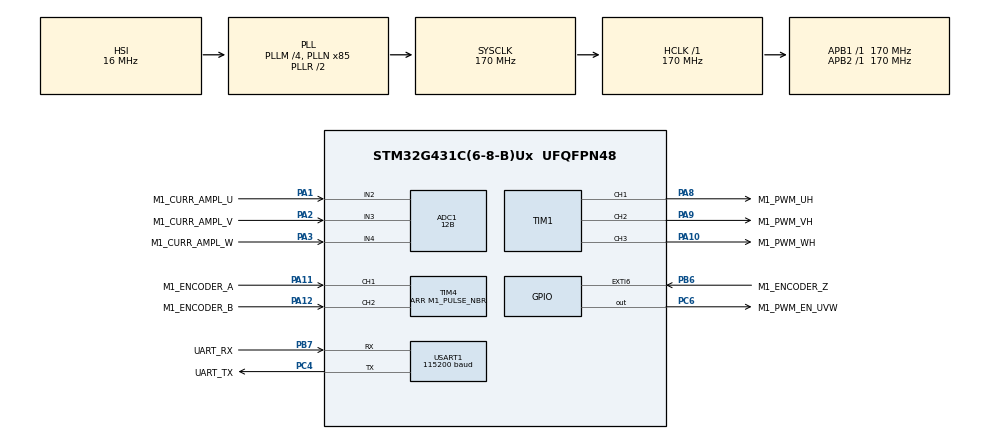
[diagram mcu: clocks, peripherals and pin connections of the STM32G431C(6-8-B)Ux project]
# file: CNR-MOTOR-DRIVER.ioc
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ADC1.ClockPrescaler=ADC_CLOCK_ASYNC_DIV1
ADC1.ContinuousConvMode=DISABLE
ADC1.DMAContinuousRequests=DISABLE
ADC1.DataAlign=ADC_DATAALIGN_LEFT
ADC1.DiscontinuousConvMode=DISABLE
ADC1.EOCSelection=ADC_EOC_SINGLE_CONV
ADC1.EnableAnalogWatchDog1=false
ADC1.EnableAnalogWatchDog2=false
ADC1.EnableAnalogWatchDog3=false
ADC1.EnableInjectedConversion=ENABLE
ADC1.EnableRegularConversion=DISABLE
ADC1.ExternalTrigInjecConv=ADC_EXTERNALTRIGINJEC_T1_TRGO
ADC1.ExternalTrigInjecConvEdge=ADC_EXTERNALTRIGINJECCONV_EDGE_RISING
ADC1.InjNumberOfConversion=3
ADC1.InjectedChannel-1\#ChannelInjectedConversion=ADC_CHANNEL_2
ADC1.InjectedChannel-2\#ChannelInjectedConversion=ADC_CHANNEL_3
ADC1.InjectedChannel-3\#ChannelInjectedConversion=ADC_CHANNEL_4
ADC1.InjectedConvMode=None
ADC1.InjectedOffset-1\#ChannelInjectedConversion=0
ADC1.InjectedOffset-2\#ChannelInjectedConversion=0
ADC1.InjectedOffset-3\#ChannelInjectedConversion=0
ADC1.InjectedOffsetNumber-1\#ChannelInjectedConversion=ADC_OFFSET_NONE
ADC1.InjectedOffsetNumber-2\#ChannelInjectedConversion=ADC_OFFSET_NONE
ADC1.InjectedOffsetNumber-3\#ChannelInjectedConversion=ADC_OFFSET_NONE
ADC1.InjectedRank-1\#ChannelInjectedConversion=1
ADC1.InjectedRank-2\#ChannelInjectedConversion=2
ADC1.InjectedRank-3\#ChannelInjectedConversion=3
ADC1.InjectedSamplingTime-1\#ChannelInjectedConversion=ADC_SAMPLETIME_6CYCLES_5
ADC1.InjectedSamplingTime-2\#ChannelInjectedConversion=ADC_SAMPLETIME_6CYCLES_5
ADC1.InjectedSamplingTime-3\#ChannelInjectedConversion=ADC_SAMPLETIME_6CYCLES_5
ADC1.LowPowerAutoWait=DISABLE
ADC1.Overrun=ADC_OVR_DATA_PRESERVED
ADC1.Resolution=ADC_RESOLUTION_12B
ADC1.ScanConvMode=ADC_SCAN_ENABLE
ADC1.master=1
Dma.Request0=USART1_RX
Dma.Request1=USART1_TX
Dma.USART1_RX.0.Direction=DMA_PERIPH_TO_MEMORY
Dma.USART1_RX.0.EventEnable=DISABLE
Dma.USART1_RX.0.Instance=DMA1_Channel1
Dma.USART1_RX.0.MemDataAlignment=DMA_MDATAALIGN_BYTE
Dma.USART1_RX.0.MemInc=DMA_MINC_ENABLE
Dma.USART1_RX.0.Mode=DMA_NORMAL
Dma.USART1_RX.0.PeriphDataAlignment=DMA_PDATAALIGN_BYTE
Dma.USART1_RX.0.PeriphInc=DMA_PINC_DISABLE
Dma.USART1_RX.0.Polarity=HAL_DMAMUX_REQ_GEN_RISING
Dma.USART1_RX.0.Priority=DMA_PRIORITY_LOW
Dma.USART1_RX.0.RequestNumber=1
Dma.USART1_RX.0.SignalID=NONE
Dma.USART1_RX.0.SyncEnable=DISABLE
Dma.USART1_RX.0.SyncPolarity=HAL_DMAMUX_SYNC_NO_EVENT
Dma.USART1_RX.0.SyncRequestNumber=1
Dma.USART1_RX.0.SyncSignalID=NONE
Dma.USART1_TX.1.Direction=DMA_MEMORY_TO_PERIPH
Dma.USART1_TX.1.EventEnable=DISABLE
Dma.USART1_TX.1.Instance=DMA1_Channel2
Dma.USART1_TX.1.MemDataAlignment=DMA_MDATAALIGN_BYTE
Dma.USART1_TX.1.MemInc=DMA_MINC_ENABLE
Dma.USART1_TX.1.Mode=DMA_NORMAL
Dma.USART1_TX.1.PeriphDataAlignment=DMA_PDATAALIGN_BYTE
Dma.USART1_TX.1.PeriphInc=DMA_PINC_DISABLE
Dma.USART1_TX.1.Polarity=HAL_DMAMUX_REQ_GEN_RISING
Dma.USART1_TX.1.Priority=DMA_PRIORITY_LOW
Dma.USART1_TX.1.RequestNumber=1
Dma.USART1_TX.1.SignalID=NONE
Dma.USART1_TX.1.SyncEnable=DISABLE
Dma.USART1_TX.1.SyncPolarity=HAL_DMAMUX_SYNC_NO_EVENT
Dma.USART1_TX.1.SyncRequestNumber=1
Dma.USART1_TX.1.SyncSignalID=NONE
ExtraMW=MotorControl
ExtraMW.MotorControl.Config=MotorControl
ExtraMW.MotorControl.Mode=MotorControl
ExtraMW.MotorControl.Root=MCSDK_v6.4.2-Full/MotorControl
ExtraMW.MotorControl.Template=templates
Mcu.Family=STM32G4
Mcu.Name=STM32G431C(6-8-B)Ux
Mcu.Package=UFQFPN48
MotorControl.ADC_AHBPERIPH=RCC_AHBPeriph_ADC1
MotorControl.ADC_CLOCK_WB_DIV=1
MotorControl.ADC_PERIPH=ADC1
MotorControl.ADC_REFERENCE_VOLTAGE=3.3
MotorControl.BOARD=~CNR-BOARD
MotorControl.BUS_VOLTAGE_READING=false
MotorControl.CCMRAM_ENABLED=false
MotorControl.CLOCK_FREQUENCY=CPU_CLK_170_MHZ
MotorControl.CLOCK_SOURCE=INTERNAL
MotorControl.CPU_CLK_170_MHZ=true
MotorControl.CTLBOARD_NAME=~CNR-BOARD
MotorControl.CUBE_MX_VER=6.17.0
MotorControl.CURRENT_READING_TOPOLOGY=THREE_SHUNT
MotorControl.CURR_SAMPLING_TIME=6
MotorControl.DBG_MCU_LOAD_MEASURE=false
MotorControl.DEBUG_DAC_FUNCTIONALITY_EN=false
MotorControl.DRIVES_NUMBER_SELECTION=SINGLEDRIVE
MotorControl.DRIVE_NUMBER=1
MotorControl.DRIVE_TYPE=FOC
MotorControl.ENCODER=true
MotorControl.ENCODER_AVAILABLE=true
MotorControl.ENCODER_PPR=256
MotorControl.ENC_A_GPIO_PIN=LL_GPIO_PIN_11
MotorControl.ENC_A_GPIO_PORT=GPIOA
MotorControl.ENC_B_GPIO_PIN=LL_GPIO_PIN_12
MotorControl.ENC_B_GPIO_PORT=GPIOA
MotorControl.ENC_ICx_FILTER=128
MotorControl.ENC_INVERT_SPEED=false
MotorControl.ENC_TIMER_SELECTION=ENC_TIM4
MotorControl.ENC_USE_CH3=true
MotorControl.ENC_Z_GPIO_PIN=LL_GPIO_PIN_6
MotorControl.ENC_Z_GPIO_PORT=GPIOB
MotorControl.EXT_CLOCK_FREQUENCY=INT_RC_OSC
MotorControl.FEEDBACK_NET_FILTERING=false
MotorControl.FLASH_SIZE=128
MotorControl.HALL_SENSORS_AVAILABLE=false
MotorControl.HIGH_SIDE_IDLE_STATE=false
MotorControl.HWV_CS=ThreeShunt_AmplifiedCurrents
MotorControl.HWV_PWM=DrivingHighSidesAndOneEnable
MotorControl.HW_COMPLEMENTED_LOW_SIDE=true
MotorControl.HW_DEAD_TIME_NS=1000
MotorControl.INT_RC_OSC=true
MotorControl.IPs=CORDIC,NVIC,RCC,SYS,MotorControl,TIM1,ADC1,TIM4,USART1,DMA
MotorControl.LOW_MEMORY_FOOTPRINT_REG=false
MotorControl.LOW_SIDE_IDLE_STATE=false
MotorControl.LOW_SIDE_SIGNALS_ENABLING=ES_GPIO
MotorControl.M1_ALIGNMENT_ANGLE_DEG=90
MotorControl.M1_ALIGNMENT_DURATION=700
MotorControl.M1_AMPLIFICATION_GAIN=6.67
MotorControl.M1_ANGC={0,0,0,0,0,0,0,0}
MotorControl.M1_AUXILIARY_SPEED_SENSOR=NONE
MotorControl.M1_BOARD_MAX_CURRENT=1.6
MotorControl.M1_BUS_VOLTAGE_READING=false
MotorControl.M1_COMMUTATION_STEP_TIME_BUF_SIZE=12
MotorControl.M1_CONSTANT1_D=7565984
MotorControl.M1_CONSTANT1_Q=7565984
MotorControl.M1_CONSTANT2_QD=921221
MotorControl.M1_CS_ADC_NUM=1
MotorControl.M1_CS_ADC_PHASE_SHARED=NONE
MotorControl.M1_CS_ADC_U=ADC1
MotorControl.M1_CS_ADC_V=ADC1
MotorControl.M1_CS_ADC_W=ADC1
MotorControl.M1_CS_CHANNEL_U=2
MotorControl.M1_CS_CHANNEL_V=3
MotorControl.M1_CS_CHANNEL_W=4
MotorControl.M1_CURRENT_AMPLIFICATION_TOPO=EXTERNAL
MotorControl.M1_CURRENT_SENSING_TOPO=THREE_SHUNT
MotorControl.M1_CURR_SAMPLING_TIME=6
MotorControl.M1_DBG_OPEN_LOOP_ENABLE=false
MotorControl.M1_DC_CURRENT_RS_MEAS=1.6
MotorControl.M1_DEFAULT_CONTROL_MODE=STC_SPEED_MODE
MotorControl.M1_DEFAULT_FLUX_COMPONENT=0
MotorControl.M1_DEFAULT_TARGET_SPEED_RPM=1440
MotorControl.M1_DEFAULT_TORQUE_COMPONENT=0
MotorControl.M1_DISCONTINUOUS_PWM=false
MotorControl.M1_DP_TOPOLOGY=NONE
MotorControl.M1_DRIVE_TYPE=FOC
MotorControl.M1_ENCODER_PPR=256
MotorControl.M1_ENC_AVERAGING_FIFO_DEPTH=16
MotorControl.M1_ENC_A_GPIO_PIN=LL_GPIO_PIN_11
MotorControl.M1_ENC_A_GPIO_PORT=GPIOA
MotorControl.M1_ENC_B_GPIO_PIN=LL_GPIO_PIN_12
MotorControl.M1_ENC_B_GPIO_PORT=GPIOA
MotorControl.M1_ENC_ICx_FILTER=128
MotorControl.M1_ENC_TIMER_IRQ=TIM4
MotorControl.M1_ENC_TIMER_SELECTION=ENC_TIM4
MotorControl.M1_ENC_USE_CH3=true
MotorControl.M1_ENC_Z_GPIO_IRQ=EXTI9_5
MotorControl.M1_ENC_Z_GPIO_PIN=LL_GPIO_PIN_6
MotorControl.M1_ENC_Z_GPIO_PORT=GPIOB
MotorControl.M1_FEED_FORWARD_CURRENT_REG_ENABLING=false
MotorControl.M1_FINAL_I_ALIGNMENT=1.6
MotorControl.M1_FLUX_WEAKENING_ENABLING=false
MotorControl.M1_FW_KIDIV=32768
MotorControl.M1_FW_KI_GAIN=5000
MotorControl.M1_FW_KPDIV=32768
MotorControl.M1_FW_KP_GAIN=3000
MotorControl.M1_FW_VOLTAGE_REF=985
MotorControl.M1_HALL_PHASE_SHIFT=300
MotorControl.M1_HALL_SENSORS_PLACEMENT=DEGREES_120
MotorControl.M1_HIGH_SIDE_IDLE_STATE=false
MotorControl.M1_HW_DEAD_TIME_NS=1000
MotorControl.M1_ICL_ENABLED=false
MotorControl.M1_ID_DEMAG=-1.6
MotorControl.M1_IQMAX=1.6
MotorControl.M1_LDLQ_RATIO=1.000
MotorControl.M1_LOW_SIDE_IDLE_STATE=false
MotorControl.M1_LOW_SIDE_SIGNALS_ENABLING=ES_GPIO
MotorControl.M1_LS=0.000098
MotorControl.M1_MAX_APPLICATION_SPEED=50000
MotorControl.M1_MAX_MODULATION_INDEX=65
MotorControl.M1_MIN_APPLICATION_SPEED=0
MotorControl.M1_MOTOR_MAX_SPEED_RPM=50000
MotorControl.M1_MOTOR_NAME=MAXON EC-I 100W
MotorControl.M1_MOTOR_RATED_FLUX=0.029687816
MotorControl.M1_MOTOR_VOLTAGE_CONSTANT=0.6
MotorControl.M1_MTPA_ENABLING=false
MotorControl.M1_NOMINAL_BUS_VOLTAGE_V=35
MotorControl.M1_NOMINAL_CURRENT=1.6
MotorControl.M1_OCP_TOPOLOGY=NONE
MotorControl.M1_OFST={0,0,0,0,0,0,0,0}
MotorControl.M1_OVERMODULATION=false
MotorControl.M1_PID_FLUX_KD_DEFAULT=100
MotorControl.M1_PID_FLUX_KI_DEFAULT=3927
MotorControl.M1_PID_FLUX_KP_DEFAULT=3406
MotorControl.M1_PID_SPEED_KD_DEFAULT=0
MotorControl.M1_PID_SPEED_KI_DEFAULT=487
MotorControl.M1_PID_SPEED_KP_DEFAULT=3155
MotorControl.M1_PID_TORQUE_KD_DEFAULT=100
MotorControl.M1_PID_TORQUE_KI_DEFAULT=3927
MotorControl.M1_PID_TORQUE_KP_DEFAULT=3406
MotorControl.M1_POLE_PAIR_NUM=1
MotorControl.M1_POSITION_CTRL_ENABLING=true
MotorControl.M1_POSITION_CTRL_KDDIV=16
MotorControl.M1_POSITION_CTRL_KD_GAIN=1000
MotorControl.M1_POSITION_CTRL_KIDIV=32768
MotorControl.M1_POSITION_CTRL_KI_GAIN=1000
MotorControl.M1_POSITION_CTRL_KPDIV=1024
MotorControl.M1_POSITION_CTRL_KP_GAIN=10000
MotorControl.M1_POSITION_LOOP_FREQUENCY_HZ=1000
MotorControl.M1_POTENTIOMETER_ENABLE=false
MotorControl.M1_POWERBOARD_NAME=~CNR-P-BOARD
MotorControl.M1_PWM_CHARGE_BOOT_CAP_DUTY_CYCLES=0.000
MotorControl.M1_PWM_CHARGE_BOOT_CAP_MS=10
MotorControl.M1_PWM_DRIVER_PN=DRV8316CT
MotorControl.M1_PWM_FREQUENCY=50000
MotorControl.M1_PWM_TIMER_BRK_IRQ=TIM1_BRK_TIM15
MotorControl.M1_PWM_TIMER_SELECTION=PWM_TIM1
MotorControl.M1_PWM_TIMER_UP_IRQ=TIM1_UP_TIM16
MotorControl.M1_REGULATION_EXECUTION_RATE=1
MotorControl.M1_RS=11.3
MotorControl.M1_RSHUNT=0.005
MotorControl.M1_SEGDIV=0
MotorControl.M1_SHARED_SIGNAL_ENABLE=true
MotorControl.M1_SPD_DIFFERENTIAL_TERM_ENABLING=false
MotorControl.M1_SPEED_SENSOR=QUAD_ENCODER_Z
MotorControl.M1_SP_KDDIV=16
MotorControl.M1_SP_KIDIV=16384
MotorControl.M1_SP_KPDIV=256
MotorControl.M1_SS_MEAS_ERRORS_BEFORE_FAULTS=3
MotorControl.M1_SW_DEADTIME_NS=1000
MotorControl.M1_TEMPERATURE_READING=false
MotorControl.M1_TF_KDDIV=8192
MotorControl.M1_TF_KIDIV=1024
MotorControl.M1_TF_KPDIV=2048
MotorControl.M1_TNOISE_NS=700
MotorControl.M1_TRISE_NS=1800
MotorControl.M1_USE_INTERNAL_OPAMP=false
MotorControl.MAX_READABLE_CURRENT=49.498
MotorControl.MCPA_OVER_UART_A_STREAM=10
MotorControl.MCP_ASPEP_OVER_UART=true
MotorControl.MCP_ASYNC_EN=true
MotorControl.MCP_ASYNC_OVER_ASPEP_EN=true
MotorControl.MCP_ASYNC_OVER_UART_A_EN=true
MotorControl.MCP_DMACH_RX_UART_A=1
MotorControl.MCP_DMACH_TX_UART_A=2
MotorControl.MCP_DMA_RX_UART_A=DMA1
MotorControl.MCP_DMA_TX_UART_A=DMA1
MotorControl.MCP_EN=true
MotorControl.MCP_IRQ_HANDLER_DMA_RX_UART_A=DMA1_Channel1_IRQHandler
MotorControl.MCP_IRQ_HANDLER_UART_A=USART1_IRQHandler
MotorControl.MCP_OVER_ASPEP_EN=true
MotorControl.MCP_OVER_STLNK_EN=false
MotorControl.MCP_OVER_UART_A_EN=true
MotorControl.MCP_OVER_UART_B_EN=false
MotorControl.MCP_RX_SYNC_PAYLOAD_MAX=256
MotorControl.MCP_TX_ASYNC_PAYLOAD_MAX_UART_A=2048
MotorControl.MCP_TX_SYNC_PAYLOAD_MAX=256
MotorControl.MCU=STM32G431CB
MotorControl.MCU_FAMILY=STM32G4
MotorControl.MCU_LINE=STM32G4x1
MotorControl.MCU_NAME=STM32G431C(6-8-B)Ux
MotorControl.MCU_PACKAGE=UFQFPN48
MotorControl.MCU_TYPE=STM32G431CB
MotorControl.MCU_USERNAME=STM32G431CBUx
MotorControl.MC_WORKBENCH_VERSION=6.4.2
MotorControl.MOTOR_PROFILER=false
MotorControl.MOTOR_TYPE=PMSM
MotorControl.PHASE_UH_GPIO_PIN=LL_GPIO_PIN_8
MotorControl.PHASE_UH_GPIO_PORT=GPIOA
MotorControl.PHASE_UH_POLARITY=H_ACTIVE_HIGH
MotorControl.PHASE_UL_GPIO_PIN=LL_GPIO_PIN_6
MotorControl.PHASE_UL_GPIO_PORT=GPIOC
MotorControl.PHASE_UL_POLARITY=L_ACTIVE_HIGH
MotorControl.PHASE_U_CURR_ADC=ADC1
MotorControl.PHASE_U_CURR_CHANNEL=ADC_CHANNEL_2
MotorControl.PHASE_U_GPIO_PIN=LL_GPIO_PIN_1
MotorControl.PHASE_U_GPIO_PORT=GPIOA
MotorControl.PHASE_U_PWM_CHANNEL=TIM_Channel_1
MotorControl.PHASE_VH_GPIO_PIN=LL_GPIO_PIN_9
MotorControl.PHASE_VH_GPIO_PORT=GPIOA
MotorControl.PHASE_VH_POLARITY=H_ACTIVE_HIGH
MotorControl.PHASE_VL_GPIO_PIN=LL_GPIO_PIN_6
MotorControl.PHASE_VL_GPIO_PORT=GPIOC
MotorControl.PHASE_VL_POLARITY=L_ACTIVE_HIGH
MotorControl.PHASE_V_CURR_ADC=ADC1
MotorControl.PHASE_V_CURR_CHANNEL=ADC_CHANNEL_3
MotorControl.PHASE_V_GPIO_PIN=LL_GPIO_PIN_2
MotorControl.PHASE_V_GPIO_PORT=GPIOA
MotorControl.PHASE_V_PWM_CHANNEL=TIM_Channel_2
MotorControl.PHASE_WH_GPIO_PIN=LL_GPIO_PIN_10
MotorControl.PHASE_WH_GPIO_PORT=GPIOA
MotorControl.PHASE_WH_POLARITY=H_ACTIVE_HIGH
MotorControl.PHASE_WL_GPIO_PIN=LL_GPIO_PIN_6
MotorControl.PHASE_WL_GPIO_PORT=GPIOC
MotorControl.PHASE_WL_POLARITY=L_ACTIVE_HIGH
MotorControl.PHASE_W_CURR_ADC=ADC1
MotorControl.PHASE_W_CURR_CHANNEL=ADC_CHANNEL_4
MotorControl.PHASE_W_GPIO_PIN=LL_GPIO_PIN_3
MotorControl.PHASE_W_GPIO_PORT=GPIOA
MotorControl.PHASE_W_PWM_CHANNEL=TIM_Channel_3
MotorControl.POTENTIOMETER_READING=false
MotorControl.PWM_FREQUENCY=50000
MotorControl.PWM_TIMER_SELECTION=PWM_TIM1
MotorControl.REGULATION_EXECUTION_RATE=1
MotorControl.RTOS=NONE
MotorControl.SINGLEDRIVE=true
MotorControl.SPD_DIFFERENTIAL_TERM_ENABLING=false
MotorControl.SPEED_SENSOR_SELECTION=ENCODER
MotorControl.START_STOP_BTN=false
MotorControl.STM32G431CB=true
MotorControl.SW_DEADTIME_NS=1000
MotorControl.TEMPERATURE_READING=false
MotorControl.TFDIFFERENTIAL_TERM_ENABLING=false
MotorControl.THREE_SHUNT=true
MotorControl.TRISE_NS=1800
MotorControl.USART_RX_GPIO_PIN=LL_GPIO_PIN_7
MotorControl.USART_RX_GPIO_PORT=GPIOB
MotorControl.USART_SELECTION=USE_USART1
MotorControl.USART_SELECTION_A=USART1
MotorControl.USART_SPEED=115200
MotorControl.USART_TX_GPIO_PIN=LL_GPIO_PIN_4
MotorControl.USART_TX_GPIO_PORT=GPIOC
MotorControl.USE_3OPAMPS=false
MotorControl.USE_INTERNAL_OPAMP=false
MotorControl.WB_MX_HEAPSIZE=0x200
MotorControl.WB_MX_STACKSIZE=0x400
MotorControl.WB_MX_TRUSTZONE_AVAILABLE=false
MotorControl.WB_UI_CUTOFF_FREQUENCY=6000
MotorControl.WB_UI_ENCODER_HAS_INDEX_PIN=true
MotorControl.WB_UI_FLUX_TARGET=0
MotorControl.WB_UI_FRICTION=14
MotorControl.WB_UI_INERTIA=5.81
MotorControl.WB_UI_MAGNETIC_STRUCTURE=I-PMSM
MotorControl.WB_UI_MAX_CURRENT=1.6
MotorControl.WB_UI_MAX_NOMINAL_DC_VOLTAGE=35
MotorControl.WB_UI_MAX_PWMFREQUENCY=100000
MotorControl.WB_UI_MOTOR_DESCRIPTION=brushless DC motor with encoder and Z Index
MotorControl.WB_UI_PW_BOARD_MAX_RATED_CURRENT=8
MotorControl.WB_UI_PW_BOARD_MAX_VOLTAGE=35
MotorControl.WB_UI_PW_BOARD_MIN_VOLTAGE=3.3
MotorControl.WB_UI_VPOL=1.65
MotorControl.WB_to_Mx_template_version=25-05-06
MotorControl.WB_to_Mx_version=6.4.2
NVIC.ADC1_2_IRQn=true\:2\:0\:true\:true\:false\:3\:true\:true\:true
NVIC.EXTI9_5_IRQn=true\:3\:0\:false\:true\:false\:5\:true\:true\:true
NVIC.PriorityGroup=NVIC_PRIORITYGROUP_3
NVIC.TIM1_BRK_TIM15_IRQn=true\:4\:1\:true\:true\:false\:1\:true\:true\:true
NVIC.TIM1_UP_TIM16_IRQn=true\:0\:0\:false\:true\:false\:2\:true\:true\:true
NVIC.TIM4_IRQn=true\:3\:0\:false\:true\:false\:4\:true\:true\:true
PA1.GPIO_Label=M1_CURR_AMPL_U
PA1.Mode=IN2-Single-Ended
PA1.Signal=ADC1_IN2
PA10.GPIO_Label=M1_PWM_WH
PA10.GPIO_PuPd=GPIO_PULLDOWN
PA10.GPIO_Speed=GPIO_SPEED_FREQ_HIGH
PA10.Signal=S_TIM1_CH3
PA11.GPIO_Label=M1_ENCODER_A
PA11.Signal=S_TIM4_CH1
PA12.GPIO_Label=M1_ENCODER_B
PA12.Signal=S_TIM4_CH2
PA2.GPIO_Label=M1_CURR_AMPL_V
PA2.Mode=IN3-Single-Ended
PA2.Signal=ADC1_IN3
PA3.GPIO_Label=M1_CURR_AMPL_W
PA3.Mode=IN4-Single-Ended
PA3.Signal=ADC1_IN4
PA8.GPIO_Label=M1_PWM_UH
PA8.GPIO_PuPd=GPIO_PULLDOWN
PA8.GPIO_Speed=GPIO_SPEED_FREQ_HIGH
PA8.Signal=S_TIM1_CH1
PA9.GPIO_Label=M1_PWM_VH
PA9.GPIO_PuPd=GPIO_PULLDOWN
PA9.GPIO_Speed=GPIO_SPEED_FREQ_HIGH
PA9.Signal=S_TIM1_CH2
PB6.GPIO_Label=M1_ENCODER_Z
PB6.GPIO_ModeDefaultEXTI=GPIO_MODE_IT_RISING
PB6.Signal=GPXTI6
PB7.GPIO_Label=UART_RX
PB7.GPIO_Mode=GPIO_MODE_AF_PP
PB7.GPIO_PuPd=GPIO_NOPULL
PB7.GPIO_Speed=GPIO_SPEED_FREQ_LOW
PB7.Mode=Asynchronous
PB7.Signal=USART1_RX
PC4.GPIO_Label=UART_TX
PC4.GPIO_Mode=GPIO_MODE_AF_PP
PC4.GPIO_PuPd=GPIO_NOPULL
PC4.GPIO_Speed=GPIO_SPEED_FREQ_LOW
PC4.Mode=Asynchronous
PC4.Signal=USART1_TX
PC6.GPIO_Label=M1_PWM_EN_UVW
PC6.GPIO_PuPd=GPIO_PULLDOWN
PC6.GPIO_Speed=GPIO_SPEED_FREQ_HIGH
PC6.Signal=GPIO_Output
ProjectManager.HeapSize=0x200
ProjectManager.StackSize=0x400
ProjectManager.TargetToolchain=CMake
RCC.ADC12CLockSelection=RCC_ADC12CLKSOURCE_PLL
RCC.ADC12Freq_Value=42500000
RCC.AHBFreq_Value=170000000
RCC.APB1Freq_Value=170000000
RCC.APB1TimFreq_Value=170000000
RCC.APB2Freq_Value=170000000
RCC.APB2TimFreq_Value=170000000
RCC.CK48CLockSelection=RCC_USBCLKSOURCE_PLL
RCC.CortexFreq_Value=170000000
RCC.EXTERNAL_CLOCK_VALUE=12288000
RCC.HCLKFreq_Value=170000000
RCC.HSE_VALUE=8000000
RCC.HSI48_VALUE=48000000
RCC.HSI_VALUE=16000000
RCC.LSE_VALUE=32768
RCC.PLLM=RCC_PLLM_DIV4
RCC.PLLN=85
RCC.PLLP=RCC_PLLP_DIV8
RCC.PREFETCH_ENABLE=1
RCC.SYSCLKFreq_VALUE=170000000
RCC.SYSCLKSource=RCC_SYSCLKSOURCE_PLLCLK
RCC.USBFreq_Value=170000000
RCC.VCOOutputFreq_Value=340000000
SH.S_TIM1_CH1.0=TIM1_CH1,PWM Generation1 CH1
SH.S_TIM1_CH2.0=TIM1_CH2,PWM Generation2 CH2
SH.S_TIM1_CH3.0=TIM1_CH3,PWM Generation3 CH3
SH.S_TIM4_CH1.0=TIM4_CH1,Encoder_Interface
SH.S_TIM4_CH2.0=TIM4_CH2,Encoder_Interface
TIM1.AutoReloadPreload=TIM_AUTORELOAD_PRELOAD_DISABLE
TIM1.AutomaticOutput=TIM_AUTOMATICOUTPUT_DISABLE
TIM1.Break2Filter=3
TIM1.Break2Polarity=TIM_BREAK2POLARITY_HIGH
TIM1.Break2State=TIM_BREAK2_DISABLE
TIM1.BreakFilter=0
TIM1.BreakPolarity=TIM_BREAKPOLARITY_HIGH
TIM1.BreakState=TIM_BREAK_DISABLE
TIM1.Channel=TIM_CHANNEL_4
TIM1.Channel-PWM\ Generation1\ CH1=TIM_CHANNEL_1
TIM1.Channel-PWM\ Generation2\ CH2=TIM_CHANNEL_2
TIM1.Channel-PWM\ Generation3\ CH3=TIM_CHANNEL_3
TIM1.Channel-PWM\ Generation4\ No\ Output=TIM_CHANNEL_4
TIM1.ClearInputSource=TIM_CLEARINPUTSOURCE_NONE
TIM1.ClockDivision=TIM_CLOCKDIVISION_DIV2
TIM1.CounterMode=TIM_COUNTERMODE_CENTERALIGNED1
TIM1.LockLevel=TIM_LOCKLEVEL_OFF
TIM1.OC1Preload_PWM=ENABLE
TIM1.OC2Preload_PWM=ENABLE
TIM1.OC3Preload_PWM=ENABLE
TIM1.OC4Preload_PWM=ENABLE
TIM1.OCFastMode_PWM=TIM_OCFAST_DISABLE
TIM1.OCIdleState_1=TIM_OCIDLESTATE_RESET
TIM1.OCIdleState_2=TIM_OCIDLESTATE_RESET
TIM1.OCIdleState_3=TIM_OCIDLESTATE_RESET
TIM1.OCIdleState_4=TIM_OCIDLESTATE_RESET
TIM1.OCMode_PWM-PWM\ Generation1\ CH1=TIM_OCMODE_PWM1
TIM1.OCMode_PWM-PWM\ Generation2\ CH2=TIM_OCMODE_PWM1
TIM1.OCMode_PWM-PWM\ Generation3\ CH3=TIM_OCMODE_PWM1
TIM1.OCMode_PWM-PWM\ Generation4\ No\ Output=TIM_OCMODE_PWM2
TIM1.OCPolarity_1=TIM_OCPOLARITY_HIGH
TIM1.OCPolarity_2=TIM_OCPOLARITY_HIGH
TIM1.OCPolarity_3=TIM_OCPOLARITY_HIGH
TIM1.OCPolarity_4=TIM_OCPOLARITY_HIGH
TIM1.OffStateIDLEMode=TIM_OSSI_ENABLE
TIM1.OffStateRunMode=TIM_OSSR_ENABLE
TIM1.PeriodNoDither=((PWM_PERIOD_CYCLES) / 2)
TIM1.Prescaler=((TIM_CLOCK_DIVIDER) - 1)
TIM1.PulseNoDither_1=((PWM_PERIOD_CYCLES) / 4)
TIM1.PulseNoDither_2=((PWM_PERIOD_CYCLES) / 4)
TIM1.PulseNoDither_3=((PWM_PERIOD_CYCLES) / 4)
TIM1.PulseNoDither_4=(((PWM_PERIOD_CYCLES) / 2) - (HTMIN))
TIM1.RepetitionCounter=(REP_COUNTER)
TIM1.SourceBRK2DigInput=TIM_BREAKINPUTSOURCE_DISABLE
TIM1.SourceBRKDigInput=TIM_BREAKINPUTSOURCE_DISABLE
TIM1.TIM_MasterOutputTrigger=TIM_TRGO_OC4REF
TIM1.TIM_MasterOutputTrigger2=TIM_TRGO2_RESET
TIM1.TIM_MasterSlaveMode=TIM_MASTERSLAVEMODE_DISABLE
TIM1.TIM_SlaveMode=TIM_SLAVEMODE_TRIGGER
TIM4.EncoderMode=TIM_ENCODERMODE_TI12
TIM4.IC1Filter=M1_ENC_IC_FILTER
TIM4.IC1Polarity=TIM_ICPOLARITY_RISING
TIM4.IC2Filter=M1_ENC_IC_FILTER
TIM4.IC2Polarity=TIM_ICPOLARITY_RISING
TIM4.PeriodNoDither=M1_PULSE_NBR
USART1.BaudRate=115200
USART1.VirtualMode-Asynchronous=VM_ASYNC
USART1.WordLength=WORDLENGTH_8B
VP_CORDIC_VS_CORDIC.Mode=CORDIC_Activate
VP_MotorControl_MC_ENABLED.Mode=Enabled
VP_SYS_VS_DBSignals.Mode=DisableDeadBatterySignals
VP_TIM1_VS_no_output4.Mode=PWM Generation4 No Output
board=custom

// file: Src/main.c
/* USER CODE BEGIN Header */
/**
  ******************************************************************************
  * @file           : main.c
  * @brief          : CNR Motor Driver - FOC with Encoder (RPM Control)
  *
  * KEY FIX: DRV8316 nSLEEP must stay HIGH always. The MCSDK ES_GPIO mode
  * toggles the enable GPIO on every SwitchOn/SwitchOff call, which puts the
  * DRV8316 to sleep and kills the current sense amplifiers. We override the
  * __weak R3_1_SwitchOnPWM/SwitchOffPWM/TurnOnLowSides to never touch nSLEEP.
  *
  * Hardware: STM32G431CB + DRV8316 (3-PWM mode) + ECX SPEED 10M (36V)
  * Encoder:  TIM4 (PA11/PA12), Index on PB6
  ******************************************************************************
  */
/* USER CODE END Header */
#include "main.h"

/* USER CODE BEGIN Includes */
#include <stdio.h>
#include <stdlib.h>
#include <stdbool.h>
#include "mc_config.h"
#include "parameters_conversion.h"
#include "pid_regulator.h"
#include "mc_config_common.h"
#include "mc_api.h"
#include "mc_interface.h"
#include "stm32g4xx_ll_usart.h"
#include "r3_1_g4xx_pwm_curr_fdbk.h"
#include "encoder_speed_pos_fdbk.h"
#include "enc_align_ctrl.h"
#include <math.h>
/* USER CODE END Includes */

/* USER CODE BEGIN PD */
#define TARGET_RPM          300
#define TARGET_RPM_UNIT     ((int16_t)(TARGET_RPM * SPEED_UNIT / U_RPM))
#define RAMP_DURATION_MS    5000
#define MOTOR_START_DELAY_MS  1000
#define MAX_FAULT_RETRIES     5
#define RUN_PRINT_INTERVAL_MS 1000
/* USER CODE END PD */

ADC_HandleTypeDef hadc1;
CORDIC_HandleTypeDef hcordic;
TIM_HandleTypeDef htim1;
TIM_HandleTypeDef htim4;
UART_HandleTypeDef huart1;
DMA_HandleTypeDef hdma_usart1_rx;
DMA_HandleTypeDef hdma_usart1_tx;

/* USER CODE BEGIN PV */
/* -----------------------------------------------------------------------------
 * COMMUTATION OFFSET CORRECTION
 * -----------------------------------------------------------------------------
 * Added to the encoder-derived electrical angle (in mc_tasks_foc.c), applied
 * ONLY while the state machine is in RUN so it never disturbs MCSDK alignment.
 *
 * Why: on this hardware MCSDK's Encoder Alignment Controller settles the
 * electrical zero ~90 electrical degrees from the true rotor d-axis. Without
 * this correction a commanded q-axis (torque) current is mis-projected onto
 * the d-axis: the rotor holds and heats but produces no torque. A -90 degree
 * offset re-aligns the frame so torque current sits on the q-axis.
 *
 * Units: s16 electrical angle, where 65536 s16 = 360 electrical degrees.
 *        -16384 s16 = -90.0 electrical degrees.
 * -------------------------------------------------------------------------- */
volatile int16_t g_el_offset_s16 = -16384;

/* Electrical-angle debug/override hooks consumed by mc_tasks_foc.c.
 * Kept for the commutation path; not exercised in this torque-mode build
 * (g_force_angle_en stays 0, so the forced-angle override is inactive). */
volatile uint8_t g_force_angle_en = 0;   /* 1 = force hElAngle to g_force_angle */
volatile int16_t g_force_angle    = 0;   /* forced electrical angle (s16) when enabled */
volatile int16_t g_el_raw_dbg     = 0;   /* raw pre-offset electrical angle, for debug */

/* Encoder Z-index (PB6) capture. g_index_enc and g_index_seen are written by
 * EXTI9_5_IRQHandler at the first index crossing. Retained as an absolute
 * position reference for the encoder-based position control to follow. */
volatile int16_t g_index_enc  = 0;   /* raw TIM4 count captured at the index pulse */
volatile int16_t g_index_el   = 0;   /* electrical angle at the index pulse (reserved) */
volatile uint8_t g_index_seen = 0;   /* set once the first index pulse is captured */
/* USER CODE END PV */

void SystemClock_Config(void);
static void MX_GPIO_Init(void);
static void MX_DMA_Init(void);
static void MX_ADC1_Init(void);
static void MX_CORDIC_Init(void);
static void MX_TIM1_Init(void);
static void MX_TIM4_Init(void);
static void MX_USART1_UART_Init(void);
static void MX_NVIC_Init(void);

/* USER CODE BEGIN 0 */
/* ---------- printf redirect ---------- */
#ifdef __GNUC__
int __io_putchar(int ch)
#else
int fputc(int ch, FILE *f)
#endif
{
  HAL_UART_Transmit(&huart1, (uint8_t *)&ch, 1, HAL_MAX_DELAY);
  return ch;
}

/* ==========================================================================
 * CRITICAL FIX: Override __weak R3_1 PWM functions to prevent nSLEEP toggle.
 *
 * The DRV8316's nSLEEP pin (PC6) is used as ES_GPIO enable in MCSDK.
 * The default R3_1 driver toggles this GPIO on every SwitchOn/SwitchOff,
 * which puts the DRV8316 to sleep - killing the CSA during offset calibration
 * and between state transitions. This causes wrong offsets and no motor movement.
 *
 * These overrides are identical to the MCSDK originals but with ALL GPIO
 * toggle lines removed. nSLEEP is set HIGH once at boot and stays there.
 * ==========================================================================
 */

/* Mask for TIM1 channels CH1/CH1N/CH2/CH2N/CH3/CH3N */
#define TIMxCCER_MASK_CH123_LOCAL  ((uint16_t)(LL_TIM_CHANNEL_CH1|LL_TIM_CHANNEL_CH1N|\
                                               LL_TIM_CHANNEL_CH2|LL_TIM_CHANNEL_CH2N|\
                                               LL_TIM_CHANNEL_CH3|LL_TIM_CHANNEL_CH3N))

void R3_1_TurnOnLowSides(PWMC_Handle_t *pHdl, uint32_t ticks)
{
  PWMC_R3_1_Handle_t *pHandle = (PWMC_R3_1_Handle_t *)pHdl;
  TIM_TypeDef *TIMx = pHandle->pParams_str->TIMx;

  pHandle->_Super.TurnOnLowSidesAction = true;

  LL_TIM_OC_DisablePreload(TIMx, LL_TIM_CHANNEL_CH1);
  LL_TIM_OC_DisablePreload(TIMx, LL_TIM_CHANNEL_CH2);
  LL_TIM_OC_DisablePreload(TIMx, LL_TIM_CHANNEL_CH3);
  LL_TIM_OC_SetCompareCH1(TIMx, ticks);
  LL_TIM_OC_SetCompareCH2(TIMx, ticks);
  LL_TIM_OC_SetCompareCH3(TIMx, ticks);
  LL_TIM_OC_EnablePreload(TIMx, LL_TIM_CHANNEL_CH1);
  LL_TIM_OC_EnablePreload(TIMx, LL_TIM_CHANNEL_CH2);
  LL_TIM_OC_EnablePreload(TIMx, LL_TIM_CHANNEL_CH3);

  LL_TIM_EnableAllOutputs(TIMx);
  /* GPIO toggle REMOVED - nSLEEP stays HIGH */
}

void R3_1_SwitchOnPWM(PWMC_Handle_t *pHdl)
{
  PWMC_R3_1_Handle_t *pHandle = (PWMC_R3_1_Handle_t *)pHdl;
  TIM_TypeDef *TIMx = pHandle->pParams_str->TIMx;

  pHandle->_Super.TurnOnLowSidesAction = false;

  /* Set all duty to 50% */
  LL_TIM_OC_DisablePreload(TIMx, LL_TIM_CHANNEL_CH1);
  LL_TIM_OC_DisablePreload(TIMx, LL_TIM_CHANNEL_CH2);
  LL_TIM_OC_DisablePreload(TIMx, LL_TIM_CHANNEL_CH3);
  LL_TIM_OC_DisablePreload(TIMx, LL_TIM_CHANNEL_CH4);
  LL_TIM_OC_SetCompareCH1(TIMx, ((uint32_t)pHandle->Half_PWMPeriod / (uint32_t)2));
  LL_TIM_OC_SetCompareCH2(TIMx, ((uint32_t)pHandle->Half_PWMPeriod / (uint32_t)2));
  LL_TIM_OC_SetCompareCH3(TIMx, ((uint32_t)pHandle->Half_PWMPeriod / (uint32_t)2));
  LL_TIM_OC_SetCompareCH4(TIMx, ((uint32_t)pHandle->Half_PWMPeriod - (uint32_t)5));
  LL_TIM_OC_EnablePreload(TIMx, LL_TIM_CHANNEL_CH1);
  LL_TIM_OC_EnablePreload(TIMx, LL_TIM_CHANNEL_CH2);
  LL_TIM_OC_EnablePreload(TIMx, LL_TIM_CHANNEL_CH3);
  LL_TIM_OC_EnablePreload(TIMx, LL_TIM_CHANNEL_CH4);

  TIMx->BDTR |= LL_TIM_OSSI_ENABLE;
  LL_TIM_EnableAllOutputs(TIMx);
  /* GPIO toggle REMOVED - nSLEEP stays HIGH */

  pHandle->_Super.PWMState = true;
}

void R3_1_SwitchOffPWM(PWMC_Handle_t *pHdl)
{
  PWMC_R3_1_Handle_t *pHandle = (PWMC_R3_1_Handle_t *)pHdl;
  TIM_TypeDef *TIMx = pHandle->pParams_str->TIMx;

  pHandle->_Super.PWMState = false;
  pHandle->_Super.TurnOnLowSidesAction = false;

  LL_TIM_DisableAllOutputs(TIMx);
  /* GPIO toggle REMOVED - nSLEEP stays HIGH, DRV8316 CSA remains active */
}

/* ---------- Diagnostic helpers ---------- */
static void PrintFaults(uint16_t f)
{
  printf("[FAULT] code=0x%04X\r\n", (unsigned)f);
  if (f & 0x0001U) printf("  -> MC_DURATION\r\n");
  if (f & 0x0002U) printf("  -> MC_OVER_VOLT\r\n");
  if (f & 0x0004U) printf("  -> MC_UNDER_VOLT\r\n");
  if (f & 0x0008U) printf("  -> MC_OVER_TEMP\r\n");
  if (f & 0x0010U) printf("  -> MC_START_UP\r\n");
  if (f & 0x0020U) printf("  -> MC_SPEED_FDBK\r\n");
  if (f & 0x0040U) printf("  -> MC_OVER_CURR\r\n");
  if (f & 0x0080U) printf("  -> MC_SW_ERROR\r\n");
  if (f & 0x0400U) printf("  -> MC_DP_FAULT\r\n");
}
/* USER CODE END 0 */

int main(void)
{
  HAL_Init();
  SystemClock_Config();

  MX_GPIO_Init();
  MX_DMA_Init();
  MX_USART1_UART_Init();
  MX_ADC1_Init();
  MX_CORDIC_Init();
  MX_TIM1_Init();
  MX_TIM4_Init();

  /* USER CODE BEGIN 2 */

  /* === DRV8316 Wake-up ===
   * Set nSLEEP HIGH ONCE and leave it. The overridden R3_1 functions
   * above will never toggle this pin, keeping the DRV8316 awake at all
   * times so the CSA works during offset calibration.
   */
  HAL_GPIO_WritePin(M1_PWM_EN_UVW_GPIO_Port, M1_PWM_EN_UVW_Pin, GPIO_PIN_SET);
  HAL_Delay(10);  /* DRV8316 wake-up time */

  printf("\r\n========================================\r\n");
  printf("  CNR BLDC FOC - Torque Mode (Encoder Commutation)\r\n");
  printf("========================================\r\n");
  printf("PWM=%uHz  PPR=%d  Target=%dRPM (unit=%d)\r\n",
         (unsigned)PWM_FREQUENCY, M1_ENCODER_PPR, TARGET_RPM, (int)TARGET_RPM_UNIT);
  printf("Vbus(virtual)=%uV  Rs=%.1f  Ls=%.4fmH  PP=%d\r\n",
         (unsigned)NOMINAL_BUS_VOLTAGE_V, RS, LS*1000.0, POLE_PAIR_NUM);
  printf("FIX: nSLEEP override active (never toggled)\r\n");
  printf("========================================\r\n\r\n");

  /* Initialize MCSDK - now calibration will read correct CSA offsets
   * because DRV8316 stays awake (nSLEEP HIGH) throughout. */
  MX_MotorControl_Init();
  MX_NVIC_Init();

  /* Read calibrated offsets */
  {
    PolarizationOffsets_t off;
    R3_1_GetOffsetCalib(pwmcHandle[M1], &off);
    printf("[INIT] Calibrated offsets: A=%u B=%u C=%u\r\n",
           (unsigned)off.phaseAOffset, (unsigned)off.phaseBOffset,
           (unsigned)off.phaseCOffset);
    /* Expect values near 32768 (VCC/2 of DRV8316 CSA). If not, warn. */
    if (off.phaseAOffset < 28000U || off.phaseAOffset > 38000U ||
        off.phaseBOffset < 28000U || off.phaseBOffset > 38000U ||
        off.phaseCOffset < 28000U || off.phaseCOffset > 38000U)
    {
      printf("[WARN] Offsets look wrong! Expected ~32768. Check CSA wiring.\r\n");
    }
    else
    {
      printf("[INIT] Offsets OK (near midscale)\r\n");
    }
  }

  HAL_TIM_Encoder_Start(&htim4, TIM_CHANNEL_ALL);
  printf("[INIT] Encoder count: %d\r\n", (int)(int16_t)LL_TIM_GetCounter(TIM4));

  /* === MCSDK-NATIVE ENCODER ALIGNMENT ===
   * We no longer do a custom open-loop alignment or manual offset. Instead we
   * let MCSDK's built-in Encoder Alignment Controller (EAC) run: on the first
   * MC_StartMotor1(), the state machine sees the encoder is not aligned and
   * enters the ALIGNMENT state, energizing the motor at M1_ALIGNMENT_ANGLE_DEG
   * (90 deg) with FINAL_I_ALIGNMENT_A current for M1_ALIGNMENT_DURATION, then
   * establishes the correct electrical zero automatically. This is the proper
   * MCSDK d/q alignment - no manual ALIGN_ELEC_OFFSET_S16 guessing.
   *
   * NOTE: the earlier reason we bypassed EAC (nSLEEP/CSA calibration issues)
   * is fixed (nSLEEP override keeps DRV8316 awake), so EAC can run correctly.
   */
  printf("[INIT] Using MCSDK native EAC for encoder alignment.\r\n");

  printf("[INIT] Ready. Motor starts in %d ms\r\n\r\n", MOTOR_START_DELAY_MS);

  // printf("Motor is running \n");

  /* USER CODE END 2 */

  /* =====================================================================
   *  MCSDK-NATIVE FOC - TORQUE MODE  (working commutation baseline)
   * ---------------------------------------------------------------------
   *  PURPOSE
   *    Run the motor under ST-MCSDK Field Oriented Control in TORQUE mode
   *    and stream clearly-labelled telemetry. This is the validated base
   *    for the next step (encoder-based POSITION control).
   *
   *  COMMUTATION FIX (the key result of this build)
   *    MCSDK's Encoder Alignment Controller (EAC) leaves the electrical
   *    zero ~90 electrical degrees away from the true rotor d-axis on this
   *    hardware. Uncorrected, a commanded q-axis (torque) current lands on
   *    the d-axis instead: the rotor grips and heats but makes no torque.
   *    We correct it at run time with a fixed -90 deg electrical offset,
   *    g_el_offset_s16 = -16384  ( -16384 s16 = -90.0 electrical degrees ),
   *    applied only while the state machine is in RUN (see mc_tasks_foc.c).
   *    With this correction the commanded current sits on the q-axis: the
   *    motor spins freely, Id ~ 0, and current/heat stay low.
   *
   *  CONTROL MODE
   *    TORQUE mode: we command a fixed q-axis current (Iq reference) via
   *    MC_ProgramTorqueRampMotor1(). We do NOT close a speed loop here -
   *    speed regulation is deliberately out of scope for this build.
   *
   *  SENSOR NOTES (this board's MCSDK configuration)
   *    Iq, Id  - REAL, measured from the DRV8316 shunt + ADC.
   *    Vq, Vd  - REAL, the FOC-applied voltages (controller output).
   *    Speed   - REAL, derived from the TIM4 quadrature encoder.
   *    Vbus    - VIRTUAL (no bus-voltage divider fitted): a fixed nominal
   *              value, NOT a measurement - so it is not printed.
   *    Temp    - VIRTUAL (no NTC fitted): a fixed value, NOT a measurement
   *              - so it is not printed. Judge heating from |Imag| instead.
   *
   *  SEQUENCE
   *    phase 0 : wait MOTOR_START_DELAY_MS, then MC_StartMotor1()
   *    phase 1 : MCSDK runs ALIGNMENT -> RUN automatically; on RUN we issue
   *              the torque command
   *    phase 2 : stream telemetry every TELEM_PERIOD_MS
   *    phase 9 : halted (start timed out) - safe idle
   *    A motor fault at any time is reported once and the motor is left
   *    stopped.
   * ===================================================================== */

  /* ---- Test configuration (edit these) ---- */
  const int16_t  TORQUE_REF_COUNTS = 150;   /* q-axis current reference.
                                             * counts -> amps: A = counts / CURRENT_CONV_FACTOR
                                             * 150 counts ~= 50 mA. Raise for more torque. */
  const uint16_t TORQUE_RAMP_MS    = 800;   /* ramp time to the torque target */
  const uint32_t TELEM_PERIOD_MS   = 250;   /* telemetry print period */

  /* ---- Run-loop state ---- */
  uint8_t  run_phase     = 0;   /* 0=wait/start 1=wait-RUN 2=telemetry 9=halted */
  uint32_t phase_t0      = 0;   /* timestamp for phase timeouts */
  uint32_t log_t0        = 0;   /* timestamp for telemetry cadence */
  uint8_t  fault_printed = 0;   /* so a fault is reported only once */

  while (1)
  {
    /* USER CODE BEGIN 3 */
    MCI_State_t state = MCI_GetSTMState(pMCI[M1]);

    if (state == FAULT_NOW || state == FAULT_OVER)
    {
      if (!fault_printed)
      {
        PrintFaults(MC_GetOccurredFaultsMotor1());
        printf("[RUN] Motor in FAULT. Stopped. Fix cause / power-cycle.\r\n");
        fault_printed = 1;
      }
      HAL_Delay(200);
      continue;
    }

    switch (run_phase)
    {
      case 0:  /* Wait the start-up delay, then command the motor to start.
                * MCSDK will automatically run ALIGNMENT and advance to RUN. */
        if (HAL_GetTick() > MOTOR_START_DELAY_MS)
        {
          bool ok = MC_StartMotor1();
          printf("[FOC ] MC_StartMotor1 -> %s  (MCSDK will ALIGN, then enter RUN)\r\n",
                 ok ? "OK" : "FAIL");
          run_phase = 1;
          phase_t0  = HAL_GetTick();
        }
        break;

      case 1:  /* Once MCSDK reaches RUN, command the q-axis torque current.
                * The -90 deg commutation offset (g_el_offset_s16) is already
                * active in RUN, so this current produces real torque. */
        if (state == RUN)
        {
          printf("[FOC ] RUN reached. Commutation offset = %d s16 (-90.0 deg).\r\n",
                 (int)g_el_offset_s16);
          printf("[FOC ] TORQUE mode: Iq reference = %d counts (~%ld mA).\r\n",
                 (int)TORQUE_REF_COUNTS,
                 (long)((int32_t)(((float)TORQUE_REF_COUNTS / CURRENT_CONV_FACTOR) * 1000.0f)));
          MC_ProgramTorqueRampMotor1(TORQUE_REF_COUNTS, TORQUE_RAMP_MS);
          run_phase = 2;
          log_t0    = HAL_GetTick();
        }
        else if (HAL_GetTick() - phase_t0 > 6000U)
        {
          printf("[FOC ] Timed out waiting for RUN (state = %d). Halting.\r\n", (int)state);
          run_phase = 9;
        }
        break;

      case 2:  /* Steady state: stream telemetry at a fixed cadence.
                *
                * Column guide (printed once as a header below):
                *   rpm    - mechanical speed from the encoder (RPM)
                *   Iq_mA  - q-axis (torque-producing) current, milliamps
                *   Id_mA  - d-axis (flux) current, milliamps; ~0 when
                *            commutation is correct
                *   |I|_mA - current magnitude sqrt(Iq^2+Id^2), the heating
                *            proxy (there is no real temperature sensor)
                *   Vq,Vd  - FOC-applied voltages on q and d axes (s16)
                *   enc    - raw TIM4 encoder count (0..CPR-1), wraps each rev
                *   eldeg  - electrical angle used for commutation, degrees */
        if (HAL_GetTick() - log_t0 >= TELEM_PERIOD_MS)
        {
          log_t0 = HAL_GetTick();

          /* --- Gather the live quantities --- */
          qd_t    iqd      = MC_GetIqdMotor1();              /* measured Iq,Id (counts) */
          qd_t    vqd      = MC_GetVqdMotor1();              /* applied  Vq,Vd (s16)    */
          int16_t spd_unit = MC_GetMecSpeedAverageMotor1();  /* speed in SPEED_UNIT      */
          int32_t spd_rpm  = ((int32_t)spd_unit * U_RPM) / SPEED_UNIT;
          int16_t enc_cnt  = (int16_t)LL_TIM_GetCounter(TIM4);

          extern FOCVars_t FOCVars[NBR_OF_MOTORS];
          int16_t el_s16   = FOCVars[M1].hElAngle;           /* electrical angle (s16)   */
          int32_t el_deg   = ((int32_t)el_s16 * 360) / 65536;/* -> electrical degrees    */

          /* Currents in milliamps: mA = counts / CURRENT_CONV_FACTOR * 1000 */
          int32_t iq_ma   = (int32_t)(((float)iqd.q / CURRENT_CONV_FACTOR) * 1000.0f);
          int32_t id_ma   = (int32_t)(((float)iqd.d / CURRENT_CONV_FACTOR) * 1000.0f);
          int32_t imag_ma = (int32_t)((sqrtf((float)iqd.q * iqd.q +
                                             (float)iqd.d * iqd.d)
                                       / CURRENT_CONV_FACTOR) * 1000.0f);

          /* Print a column header once, then aligned data rows. */
          static uint8_t hdr_done = 0;
          if (!hdr_done)
          {
            printf("[TELEM] %6s %7s %7s %7s %7s %7s %6s %6s\r\n",
                   "rpm", "Iq_mA", "Id_mA", "|I|_mA", "Vq", "Vd", "enc", "eldeg");
            hdr_done = 1;
          }
          printf("[TELEM] %6ld %7ld %7ld %7ld %7d %6d %6d %6ld\r\n",
                 (long)spd_rpm,
                 (long)iq_ma,
                 (long)id_ma,
                 (long)imag_ma,
                 (int)vqd.q,
                 (int)vqd.d,
                 (int)enc_cnt,
                 (long)el_deg);
        }
        break;

      case 9:  /* Halted (start timed out). Idle safely; motor is stopped. */
      default:
        break;
    }

    HAL_Delay(5);
    /* USER CODE END 3 */
  }
}

void SystemClock_Config(void)
{
  RCC_OscInitTypeDef RCC_OscInitStruct = {0};
  RCC_ClkInitTypeDef RCC_ClkInitStruct = {0};

  HAL_PWREx_ControlVoltageScaling(PWR_REGULATOR_VOLTAGE_SCALE1_BOOST);

  RCC_OscInitStruct.OscillatorType = RCC_OSCILLATORTYPE_HSI;
  RCC_OscInitStruct.HSIState = RCC_HSI_ON;
  RCC_OscInitStruct.HSICalibrationValue = RCC_HSICALIBRATION_DEFAULT;
  RCC_OscInitStruct.PLL.PLLState = RCC_PLL_ON;
  RCC_OscInitStruct.PLL.PLLSource = RCC_PLLSOURCE_HSI;
  RCC_OscInitStruct.PLL.PLLM = RCC_PLLM_DIV4;
  RCC_OscInitStruct.PLL.PLLN = 85;
  RCC_OscInitStruct.PLL.PLLP = RCC_PLLP_DIV8;
  RCC_OscInitStruct.PLL.PLLQ = RCC_PLLQ_DIV2;
  RCC_OscInitStruct.PLL.PLLR = RCC_PLLR_DIV2;
  if (HAL_RCC_OscConfig(&RCC_OscInitStruct) != HAL_OK) Error_Handler();

  RCC_ClkInitStruct.ClockType = RCC_CLOCKTYPE_HCLK|RCC_CLOCKTYPE_SYSCLK
                              |RCC_CLOCKTYPE_PCLK1|RCC_CLOCKTYPE_PCLK2;
  RCC_ClkInitStruct.SYSCLKSource = RCC_SYSCLKSOURCE_PLLCLK;
  RCC_ClkInitStruct.AHBCLKDivider = RCC_SYSCLK_DIV1;
  RCC_ClkInitStruct.APB1CLKDivider = RCC_HCLK_DIV1;
  RCC_ClkInitStruct.APB2CLKDivider = RCC_HCLK_DIV1;
  if (HAL_RCC_ClockConfig(&RCC_ClkInitStruct, FLASH_LATENCY_4) != HAL_OK) Error_Handler();
}

static void MX_NVIC_Init(void)
{
  HAL_NVIC_SetPriority(TIM1_BRK_TIM15_IRQn, 4, 1);
  HAL_NVIC_EnableIRQ(TIM1_BRK_TIM15_IRQn);
  HAL_NVIC_SetPriority(TIM1_UP_TIM16_IRQn, 0, 0);
  HAL_NVIC_EnableIRQ(TIM1_UP_TIM16_IRQn);
  HAL_NVIC_SetPriority(ADC1_2_IRQn, 2, 0);
  HAL_NVIC_EnableIRQ(ADC1_2_IRQn);
  HAL_NVIC_SetPriority(TIM4_IRQn, 3, 0);
  HAL_NVIC_EnableIRQ(TIM4_IRQn);
  HAL_NVIC_SetPriority(EXTI9_5_IRQn, 3, 0);
  HAL_NVIC_EnableIRQ(EXTI9_5_IRQn);
}

static void MX_ADC1_Init(void)
{
  ADC_MultiModeTypeDef multimode = {0};
  ADC_InjectionConfTypeDef sConfigInjected = {0};

  hadc1.Instance = ADC1;
  hadc1.Init.ClockPrescaler = ADC_CLOCK_ASYNC_DIV1;
  hadc1.Init.Resolution = ADC_RESOLUTION_12B;
  hadc1.Init.DataAlign = ADC_DATAALIGN_LEFT;
  hadc1.Init.GainCompensation = 0;
  hadc1.Init.ScanConvMode = ADC_SCAN_ENABLE;
  hadc1.Init.EOCSelection = ADC_EOC_SINGLE_CONV;
  hadc1.Init.LowPowerAutoWait = DISABLE;
  hadc1.Init.ContinuousConvMode = DISABLE;
  hadc1.Init.NbrOfConversion = 1;
  hadc1.Init.DiscontinuousConvMode = DISABLE;
  hadc1.Init.DMAContinuousRequests = DISABLE;
  hadc1.Init.Overrun = ADC_OVR_DATA_PRESERVED;
  hadc1.Init.OversamplingMode = DISABLE;
  if (HAL_ADC_Init(&hadc1) != HAL_OK) Error_Handler();

  multimode.Mode = ADC_MODE_INDEPENDENT;
  if (HAL_ADCEx_MultiModeConfigChannel(&hadc1, &multimode) != HAL_OK) Error_Handler();

  /* PA1=CH2(SOA), PA2=CH3(SOB), PA3=CH4(SOC) - DRV8316 CSA outputs */
  sConfigInjected.InjectedChannel = ADC_CHANNEL_2;
  sConfigInjected.InjectedRank = ADC_INJECTED_RANK_1;
  sConfigInjected.InjectedSamplingTime = ADC_SAMPLETIME_6CYCLES_5;
  sConfigInjected.InjectedSingleDiff = ADC_SINGLE_ENDED;
  sConfigInjected.InjectedOffsetNumber = ADC_OFFSET_NONE;
  sConfigInjected.InjectedOffset = 0;
  sConfigInjected.InjectedNbrOfConversion = 3;
  sConfigInjected.InjectedDiscontinuousConvMode = DISABLE;
  sConfigInjected.AutoInjectedConv = DISABLE;
  sConfigInjected.QueueInjectedContext = DISABLE;
  sConfigInjected.ExternalTrigInjecConv = ADC_EXTERNALTRIGINJEC_T1_TRGO;
  sConfigInjected.ExternalTrigInjecConvEdge = ADC_EXTERNALTRIGINJECCONV_EDGE_RISING;
  sConfigInjected.InjecOversamplingMode = DISABLE;
  if (HAL_ADCEx_InjectedConfigChannel(&hadc1, &sConfigInjected) != HAL_OK) Error_Handler();

  sConfigInjected.InjectedChannel = ADC_CHANNEL_3;
  sConfigInjected.InjectedRank = ADC_INJECTED_RANK_2;
  if (HAL_ADCEx_InjectedConfigChannel(&hadc1, &sConfigInjected) != HAL_OK) Error_Handler();

  sConfigInjected.InjectedChannel = ADC_CHANNEL_4;
  sConfigInjected.InjectedRank = ADC_INJECTED_RANK_3;
  if (HAL_ADCEx_InjectedConfigChannel(&hadc1, &sConfigInjected) != HAL_OK) Error_Handler();
}

static void MX_CORDIC_Init(void)
{
  hcordic.Instance = CORDIC;
  if (HAL_CORDIC_Init(&hcordic) != HAL_OK) Error_Handler();
}

static void MX_TIM1_Init(void)
{
  TIM_MasterConfigTypeDef sMasterConfig = {0};
  TIM_OC_InitTypeDef sConfigOC = {0};
  TIM_BreakDeadTimeConfigTypeDef sBreakDeadTimeConfig = {0};

  htim1.Instance = TIM1;
  htim1.Init.Prescaler = ((TIM_CLOCK_DIVIDER) - 1);
  htim1.Init.CounterMode = TIM_COUNTERMODE_CENTERALIGNED1;
  htim1.Init.Period = ((PWM_PERIOD_CYCLES) / 2);
  htim1.Init.ClockDivision = TIM_CLOCKDIVISION_DIV2;
  htim1.Init.RepetitionCounter = (REP_COUNTER);
  htim1.Init.AutoReloadPreload = TIM_AUTORELOAD_PRELOAD_DISABLE;
  if (HAL_TIM_PWM_Init(&htim1) != HAL_OK) Error_Handler();

  sMasterConfig.MasterOutputTrigger = TIM_TRGO_OC4REF;
  sMasterConfig.MasterOutputTrigger2 = TIM_TRGO2_RESET;
  sMasterConfig.MasterSlaveMode = TIM_MASTERSLAVEMODE_DISABLE;
  if (HAL_TIMEx_MasterConfigSynchronization(&htim1, &sMasterConfig) != HAL_OK) Error_Handler();

  sConfigOC.OCMode = TIM_OCMODE_PWM1;
  sConfigOC.Pulse = ((PWM_PERIOD_CYCLES) / 4);
  sConfigOC.OCPolarity = TIM_OCPOLARITY_HIGH;
  sConfigOC.OCNPolarity = TIM_OCNPOLARITY_HIGH;
  sConfigOC.OCFastMode = TIM_OCFAST_DISABLE;
  sConfigOC.OCIdleState = TIM_OCIDLESTATE_RESET;
  sConfigOC.OCNIdleState = TIM_OCNIDLESTATE_RESET;
  if (HAL_TIM_PWM_ConfigChannel(&htim1, &sConfigOC, TIM_CHANNEL_1) != HAL_OK) Error_Handler();
  if (HAL_TIM_PWM_ConfigChannel(&htim1, &sConfigOC, TIM_CHANNEL_2) != HAL_OK) Error_Handler();
  if (HAL_TIM_PWM_ConfigChannel(&htim1, &sConfigOC, TIM_CHANNEL_3) != HAL_OK) Error_Handler();

  sConfigOC.OCMode = TIM_OCMODE_PWM2;
  sConfigOC.Pulse = (((PWM_PERIOD_CYCLES) / 2) - (HTMIN));
  if (HAL_TIM_PWM_ConfigChannel(&htim1, &sConfigOC, TIM_CHANNEL_4) != HAL_OK) Error_Handler();

  sBreakDeadTimeConfig.OffStateRunMode = TIM_OSSR_ENABLE;
  sBreakDeadTimeConfig.OffStateIDLEMode = TIM_OSSI_ENABLE;
  sBreakDeadTimeConfig.LockLevel = TIM_LOCKLEVEL_OFF;
  sBreakDeadTimeConfig.DeadTime = 0;
  sBreakDeadTimeConfig.BreakState = TIM_BREAK_DISABLE;
  sBreakDeadTimeConfig.BreakPolarity = TIM_BREAKPOLARITY_HIGH;
  sBreakDeadTimeConfig.BreakFilter = 0;
  sBreakDeadTimeConfig.BreakAFMode = TIM_BREAK_AFMODE_INPUT;
  sBreakDeadTimeConfig.Break2State = TIM_BREAK2_DISABLE;
  sBreakDeadTimeConfig.Break2Polarity = TIM_BREAK2POLARITY_HIGH;
  sBreakDeadTimeConfig.Break2Filter = 3;
  sBreakDeadTimeConfig.Break2AFMode = TIM_BREAK_AFMODE_INPUT;
  sBreakDeadTimeConfig.AutomaticOutput = TIM_AUTOMATICOUTPUT_DISABLE;
  if (HAL_TIMEx_ConfigBreakDeadTime(&htim1, &sBreakDeadTimeConfig) != HAL_OK) Error_Handler();

  HAL_TIM_MspPostInit(&htim1);
}

static void MX_TIM4_Init(void)
{
  TIM_Encoder_InitTypeDef sConfig = {0};
  TIM_MasterConfigTypeDef sMasterConfig = {0};

  htim4.Instance = TIM4;
  htim4.Init.Prescaler = 0;
  htim4.Init.CounterMode = TIM_COUNTERMODE_UP;
  htim4.Init.Period = M1_PULSE_NBR;
  htim4.Init.ClockDivision = TIM_CLOCKDIVISION_DIV1;
  htim4.Init.AutoReloadPreload = TIM_AUTORELOAD_PRELOAD_DISABLE;
  sConfig.EncoderMode = TIM_ENCODERMODE_TI12;
  /* Encoder direction: with the phase swap active, the correct polarity is
   * FALLING (the RISING flip caused runaway - angle tracked backward). */
  /* Encoder input-capture polarity. Both channels use RISING so that TIM4
   * counts in the direction that agrees with the commutation electrical
   * angle (with the CH1<->CH3 PWM phase order on this board). A mismatch here
   * causes a positive-feedback lock: the rotor holds at a detent under torque
   * instead of turning. */
  sConfig.IC1Polarity = TIM_ICPOLARITY_RISING;
  sConfig.IC1Selection = TIM_ICSELECTION_DIRECTTI;
  sConfig.IC1Prescaler = TIM_ICPSC_DIV1;
  sConfig.IC1Filter = M1_ENC_IC_FILTER;
  sConfig.IC2Polarity = TIM_ICPOLARITY_RISING;
  sConfig.IC2Selection = TIM_ICSELECTION_DIRECTTI;
  sConfig.IC2Prescaler = TIM_ICPSC_DIV1;
  sConfig.IC2Filter = M1_ENC_IC_FILTER;
  if (HAL_TIM_Encoder_Init(&htim4, &sConfig) != HAL_OK) Error_Handler();

  sMasterConfig.MasterOutputTrigger = TIM_TRGO_RESET;
  sMasterConfig.MasterSlaveMode = TIM_MASTERSLAVEMODE_DISABLE;
  if (HAL_TIMEx_MasterConfigSynchronization(&htim4, &sMasterConfig) != HAL_OK) Error_Handler();
}

static void MX_USART1_UART_Init(void)
{
  huart1.Instance = USART1;
  huart1.Init.BaudRate = 115200;
  huart1.Init.WordLength = UART_WORDLENGTH_8B;
  huart1.Init.StopBits = UART_STOPBITS_1;
  huart1.Init.Parity = UART_PARITY_NONE;
  huart1.Init.Mode = UART_MODE_TX_RX;
  huart1.Init.HwFlowCtl = UART_HWCONTROL_NONE;
  huart1.Init.OverSampling = UART_OVERSAMPLING_16;
  huart1.Init.OneBitSampling = UART_ONE_BIT_SAMPLE_DISABLE;
  huart1.Init.ClockPrescaler = UART_PRESCALER_DIV1;
  huart1.AdvancedInit.AdvFeatureInit = UART_ADVFEATURE_NO_INIT;
  if (HAL_UART_Init(&huart1) != HAL_OK) Error_Handler();
  if (HAL_UARTEx_SetTxFifoThreshold(&huart1, UART_TXFIFO_THRESHOLD_1_8) != HAL_OK) Error_Handler();
  if (HAL_UARTEx_SetRxFifoThreshold(&huart1, UART_RXFIFO_THRESHOLD_1_8) != HAL_OK) Error_Handler();
  if (HAL_UARTEx_DisableFifoMode(&huart1) != HAL_OK) Error_Handler();
}

static void MX_DMA_Init(void)
{
  __HAL_RCC_DMAMUX1_CLK_ENABLE();
  __HAL_RCC_DMA1_CLK_ENABLE();
}

static void MX_GPIO_Init(void)
{
  GPIO_InitTypeDef GPIO_InitStruct = {0};

  __HAL_RCC_GPIOA_CLK_ENABLE();
  __HAL_RCC_GPIOC_CLK_ENABLE();
  __HAL_RCC_GPIOB_CLK_ENABLE();

  /* nSLEEP starts LOW, will be set HIGH in main before MCSDK init */
  HAL_GPIO_WritePin(M1_PWM_EN_UVW_GPIO_Port, M1_PWM_EN_UVW_Pin, GPIO_PIN_RESET);

  GPIO_InitStruct.Pin = M1_PWM_EN_UVW_Pin;
  GPIO_InitStruct.Mode = GPIO_MODE_OUTPUT_PP;
  GPIO_InitStruct.Pull = GPIO_PULLDOWN;
  GPIO_InitStruct.Speed = GPIO_SPEED_FREQ_HIGH;
  HAL_GPIO_Init(M1_PWM_EN_UVW_GPIO_Port, &GPIO_InitStruct);

  GPIO_InitStruct.Pin = M1_ENCODER_Z_Pin;
  GPIO_InitStruct.Mode = GPIO_MODE_IT_RISING;
  GPIO_InitStruct.Pull = GPIO_NOPULL;
  HAL_GPIO_Init(M1_ENCODER_Z_GPIO_Port, &GPIO_InitStruct);
}

void Error_Handler(void)
{
  __disable_irq();
  while (1) {}
}
